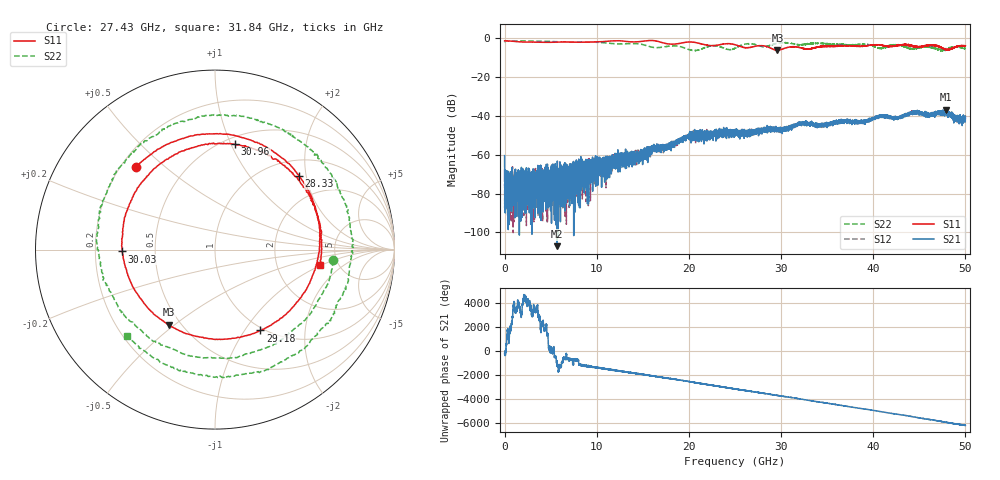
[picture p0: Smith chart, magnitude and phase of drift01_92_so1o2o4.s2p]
!Created with skrf (http://scikit-rf.org).
# Hz S RI R 50.0
!freq ReS11 ImS11 ReS21 ImS21 ReS12 ImS12 ReS22 ImS22
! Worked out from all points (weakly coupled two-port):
!   10001 points, 300 kHz to 50 GHz, reference 50 ohm
!   highest |S21| = -36.72 dB at 47.91 GHz (marker M1); lowest = -107.1 dB at 5.67 GHz (marker M2)
!   lowest |S11| = -6.2 dB at 29.61 GHz (marker M3), VSWR 2.92, Z = 21.7 - j23.9 ohm
!   |S11| at or under -10 dB: nowhere
!   |S22| runs from -6.6 to -1.4 dB; largest |S21 - S12| = 0.0039
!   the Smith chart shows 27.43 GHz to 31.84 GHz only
!   S11 on the Smith chart (normalised r, x): 27.43 GHz: 0.26, +0.40; 28.33 GHz: 1.36, +1.82; 29.18 GHz: 0.96, -1.18; 30.03 GHz: 0.32, -0.01; 30.96 GHz: 0.57, +1.04; 31.84 GHz: 3.64, -0.97
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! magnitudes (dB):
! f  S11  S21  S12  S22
! 300 kHz  -1.3  -60.5  -75.8  -2.1
! 275.3 MHz  -1.4  -74.7  -77.9  -1.4
! 5.67 GHz  -2.0  -107.1  -70.8  -1.7
! 8.335 GHz  -2.0  -69.3  -65.8  -1.8
! 16.67 GHz  -1.6  -58.1  -56.0  -4.8
! 18.63 GHz  -2.9  -53.3  -53.8  -3.9
! 20.24 GHz  -1.9  -48.2  -52.2  -6.2
! 22.61 GHz  -3.8  -49.0  -48.4  -3.8
! 25 GHz  -3.3  -49.9  -49.4  -5.1
! 27.43 GHz  -3.9  -48.8  -48.2  -3.6
! 28.33 GHz  -4.1  -46.2  -48.1  -4.2
! 29.18 GHz  -5.7  -47.3  -46.4  -3.1
! 29.61 GHz  -6.2  -47.2  -47.5  -2.5
! 30.03 GHz  -5.7  -46.3  -46.9  -2.3
! 30.96 GHz  -4.5  -46.9  -46.3  -2.4
! 31.84 GHz  -4.5  -44.1  -44.1  -3.3
! 33.34 GHz  -5.3  -44.2  -44.2  -2.7
! 41.67 GHz  -4.2  -40.6  -40.7  -4.3
! 44.43 GHz  -4.2  -38.1  -38.1  -5.2
! 46.43 GHz  -3.6  -39.3  -38.3  -4.6
! 47.91 GHz  -5.7  -36.7  -38.5  -5.1
! 50 GHz  -3.8  -41.3  -40.7  -5.4
